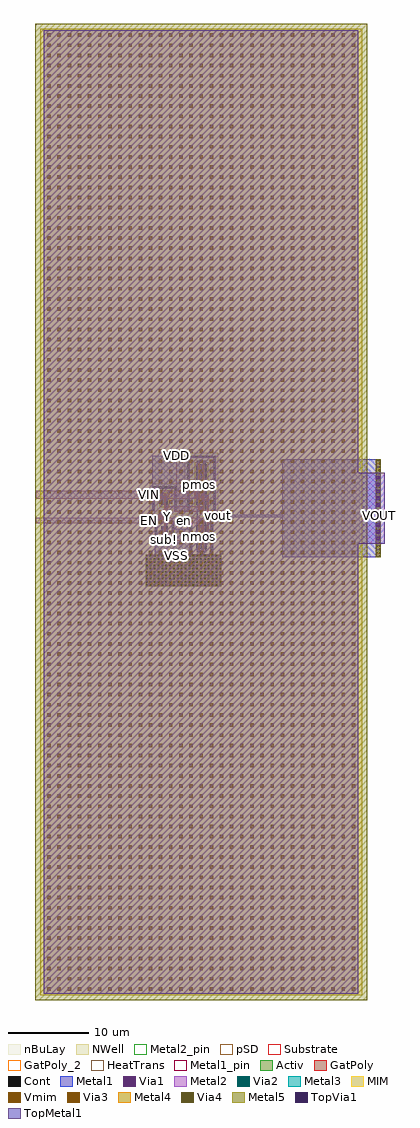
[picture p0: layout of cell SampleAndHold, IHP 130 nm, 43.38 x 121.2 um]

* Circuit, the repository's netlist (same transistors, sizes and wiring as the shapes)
** sch_path: /foss/designs/xschemas/aymen/SampleAndHold.sch
.subckt SampleAndHold vdd en Nbulk Vout Vin VSS
*.PININFO Vout:O Vin:I en:I vdd:I Nbulk:B VSS:B
x2 vdd en net1 VSS Pbulk Nbulk inverter
x1 net1 Vin Vout Nbulk en Pbulk T_gate
C1 Vout VSS cap_cmim w=40e-6 l=120e-6
R1 vdd Pbulk ntap1 A=7.635e-12 P=52.1e-6
R2 VSS Nbulk ptap1 A=5.499e-12 P=37.86e-6
.ends

* expanding   symbol:  /foss/designs/xschemas/aymen/inverter.sym # of pins=6
** sym_path: /foss/designs/xschemas/aymen/inverter.sym
** sch_path: /foss/designs/xschemas/aymen/inverter.sch
.subckt inverter vdd vi vo gnd Pbulk Nbulk
*.PININFO vi:B vo:B gnd:B vdd:B Pbulk:B Nbulk:B
M5 vo vi vdd Pbulk sg13_lv_pmos w=1200n l=130n ng=1
M7 vo vi gnd Nbulk sg13_lv_nmos w=780n l=130n ng=1
.ends


* expanding   symbol:  /foss/designs/xschemas/aymen/T_gate.sym # of pins=6
** sym_path: /foss/designs/xschemas/aymen/T_gate.sym
** sch_path: /foss/designs/xschemas/aymen/T_gate.sch
.subckt T_gate !Control Vin Vout gnd Control vdd
*.PININFO Vout:B Vin:B !Control:B Control:B gnd:B vdd:B
M1 Vin Control Vout gnd sg13_lv_nmos w=6u l=0.13u ng=1
M2 Vin !Control Vout vdd sg13_lv_pmos w=10u l=0.13u ng=1
.ends

.GLOBAL VSS

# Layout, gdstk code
import gdstk
lib = gdstk.Library(unit=1e-6, precision=1e-09)
def R(c, l, rs):  # rectangles x0, y0, x1, y1
    for r in rs: c.add(gdstk.rectangle(r[:2], r[2:], *l))
def A(c, l, x, y, w, h, nx, ny, dx, dy):  # array of equal rectangles
    R(c, l, [(x+i*dx, y+j*dy, x+i*dx+w, y+j*dy+h) for i in range(nx) for j in range(ny)])
def P(c, l, *ps):  # polygons
    for p in ps: c.add(gdstk.Polygon(p, *l))
Activ = (1, 0)
GatPoly = (5, 0)
GatPoly_2 = (5, 2)
Cont = (6, 0)
Metal1 = (8, 0)
Metal1_pin = (8, 2)
Metal2 = (10, 0)
Metal2_pin = (10, 2)
pSD = (14, 0)
Via1 = (19, 0)
Via2 = (29, 0)
Metal3 = (30, 0)
NWell = (31, 0)
nBuLay = (32, 0)
MIM = (36, 0)
Substrate = (40, 0)
Via3 = (49, 0)
Metal4 = (50, 0)
HeatTrans = (51, 0)
Via4 = (66, 0)
Metal5 = (67, 0)
TopVia1 = (125, 0)
TopMetal1 = (126, 0)
Vmim = (129, 0)

sampleandhold = lib.new_cell('SampleAndHold')
A(sampleandhold, Activ, -0.645, -4.57, 0.3, 0.3, 3, 2, 0.51, 5.47)
R(sampleandhold, Activ, [(-1.445,-5.25,-1.145,-0.89), (1.175,-5.25,1.475,-0.89), (-0.645,-4.57,0.675,-1.57), (-5.76,-3.23,-5.46,-1.09), (-3.65,-3.23,-3.35,-1.09), (-4.96,-2.55,-4.66,-2.25), (-4.96,-2.55,-4.15,-1.77), (-4.45,-2.55,-4.15,-2.25), (-6.07,0.09,-5.77,2.91), (-3.34,0.09,-3.04,2.91), (-1.755,0.09,-1.455,6.71), (1.485,0.09,1.785,6.71), (-4.96,0.9,-4.66,1.2), (-4.96,0.9,-4.15,2.1), (-4.45,0.9,-4.15,1.2), (-0.645,0.9,0.675,5.9)])
P(sampleandhold, Activ, [(-1.445,-5.55),(-1.445,-0.89),(-1.145,-0.89),(-1.145,-5.25),(1.175,-5.25),(1.175,-0.89),(1.475,-0.89),(1.475,-5.55)],
  [(-1.755,0.09),(-1.755,7.01),(1.785,7.01),(1.785,0.09),(1.485,0.09),(1.485,6.71),(-1.455,6.71),(-1.455,0.09)],
  [(-6.07,0.09),(-6.07,3.21),(-3.04,3.21),(-3.04,0.09),(-3.34,0.09),(-3.34,2.91),(-5.77,2.91),(-5.77,0.09)],
  [(-5.76,-3.53),(-5.76,-1.09),(-5.46,-1.09),(-5.46,-3.23),(-3.65,-3.23),(-3.65,-1.09),(-3.35,-1.09),(-3.35,-3.53)])
R(sampleandhold, GatPoly, [(-0.305,-4.75,-0.175,-1.39), (0.205,-4.75,0.335,-1.39), (-4.62,-2.73,-4.49,-1.59), (-4.62,-1.86,-4.49,0.84), (-0.305,-1.49,0.335,-0.935), (-0.14,-1.355,0.16,-0.715), (-5.245,-0.94,-4.605,-0.3), (-0.14,0.04,0.16,0.68), (-0.305,0.07,0.335,0.72), (-4.62,0.72,-4.49,2.28), (-4.62,0.72,-4.49,2.28), (-0.305,0.72,-0.175,6.08), (-0.305,0.72,-0.175,6.08), (0.205,0.72,0.335,6.08)])
R(sampleandhold, GatPoly_2, [(-0.305,-4.75,-0.175,-1.39), (-4.62,-2.73,-4.49,-1.59)])
A(sampleandhold, Cont, -1.375, -5.48, 0.16, 0.16, 4, 1, 0.34, 0)
A(sampleandhold, Cont, 0.225, -5.48, 0.16, 0.16, 4, 1, 0.34, 0)
A(sampleandhold, Cont, -1.375, -5.14, 0.16, 0.16, 1, 6, 0, 0.34)
A(sampleandhold, Cont, 1.245, -5.14, 0.16, 0.16, 1, 6, 0, 0.34)
A(sampleandhold, Cont, -0.575, -4.5, 0.16, 0.16, 3, 7, 0.51, 0.385)
A(sampleandhold, Cont, -5.69, -3.46, 0.16, 0.16, 3, 1, 0.34, 0)
A(sampleandhold, Cont, -4.6, -3.46, 0.16, 0.16, 4, 1, 0.34, 0)
A(sampleandhold, Cont, -5.69, -3.12, 0.16, 0.16, 1, 3, 0, 0.34)
A(sampleandhold, Cont, -3.58, -3.12, 0.16, 0.16, 1, 3, 0, 0.34)
A(sampleandhold, Cont, -1.375, -2.86, 0.16, 0.16, 1, 6, 0, 0.34)
A(sampleandhold, Cont, 1.245, -2.86, 0.16, 0.16, 1, 6, 0, 0.34)
A(sampleandhold, Cont, -5.69, -2.04, 0.16, 0.16, 1, 3, 0, 0.34)
A(sampleandhold, Cont, -3.58, -2.04, 0.16, 0.16, 1, 3, 0, 0.34)
A(sampleandhold, Cont, -0.575, -1.8, 0.16, 0.16, 3, 2, 0.51, 2.77)
A(sampleandhold, Cont, -6, 0.2, 0.16, 0.16, 1, 4, 0, 0.34)
A(sampleandhold, Cont, -3.27, 0.2, 0.16, 0.16, 1, 4, 0, 0.34)
A(sampleandhold, Cont, -1.685, 0.2, 0.16, 0.16, 1, 9, 0, 0.34)
A(sampleandhold, Cont, 1.555, 0.2, 0.16, 0.16, 1, 9, 0, 0.34)
A(sampleandhold, Cont, -4.89, 0.97, 0.16, 0.16, 1, 3, 0, 0.45)
A(sampleandhold, Cont, -4.38, 0.97, 0.16, 0.16, 1, 3, 0, 0.45)
A(sampleandhold, Cont, -0.575, 1.33, 0.16, 0.16, 3, 3, 0.51, 0.36)
A(sampleandhold, Cont, -6, 1.62, 0.16, 0.16, 1, 4, 0, 0.34)
A(sampleandhold, Cont, -3.27, 1.62, 0.16, 0.16, 1, 4, 0, 0.34)
A(sampleandhold, Cont, -0.575, 2.415, 0.16, 0.16, 3, 3, 0.51, 0.36)
A(sampleandhold, Cont, -6, 2.98, 0.16, 0.16, 4, 1, 0.34, 0)
A(sampleandhold, Cont, -4.63, 2.98, 0.16, 0.16, 5, 1, 0.34, 0)
A(sampleandhold, Cont, -1.685, 3.38, 0.16, 0.16, 1, 10, 0, 0.34)
A(sampleandhold, Cont, 1.555, 3.38, 0.16, 0.16, 1, 10, 0, 0.34)
A(sampleandhold, Cont, -0.575, 3.5, 0.16, 0.16, 3, 3, 0.51, 0.36)
A(sampleandhold, Cont, -0.575, 4.585, 0.16, 0.16, 3, 3, 0.51, 0.36)
A(sampleandhold, Cont, -0.575, 5.67, 0.16, 0.16, 3, 1, 0.51, 0)
A(sampleandhold, Cont, -1.685, 6.78, 0.16, 0.16, 5, 1, 0.34, 0)
A(sampleandhold, Cont, 0.195, 6.78, 0.16, 0.16, 5, 1, 0.34, 0)
R(sampleandhold, Cont, [(-4.89,-2.48,-4.73,-2.32), (-4.38,-2.48,-4.22,-2.32), (-4.89,-2,-4.73,-1.84), (-4.38,-2,-4.22,-1.84), (-0.07,-1.285,0.09,-1.125), (-0.07,-0.945,0.09,-0.785), (-5.175,-0.87,-5.015,-0.71), (-4.835,-0.87,-4.675,-0.71), (-5.175,-0.53,-5.015,-0.37), (-4.835,-0.53,-4.675,-0.37), (-0.07,0.11,0.09,0.27), (-0.07,0.45,0.09,0.61)])
A(sampleandhold, Metal1, -0.575, -4.57, 0.16, 3, 3, 1, 0.51, 0)
R(sampleandhold, Metal1, [(-6.895,-9.2,2.515,-5.3), (10.075,-5.62,22.27,6.56), (21.65,-5.62,22.27,6.56), (-1.445,-5.55,1.475,-5.25), (-5.76,-5.35,-1.245,-3.53), (-1.445,-5.25,-1.145,-0.89), (1.175,-5.25,1.475,-0.89), (-0.575,-5.015,0.605,-4.805), (-0.575,-5.015,-0.415,-4.42), (0.445,-5.015,0.605,-4.395), (-0.085,-3.765,0.125,-1.835), (-5.76,-3.53,-3.35,-3.23), (-3.35,-3.53,-1.245,-2.08), (-4.89,-3.37,-4.73,-2.29), (-5.76,-3.23,-5.46,-1.09), (-3.65,-3.23,-3.35,-1.09), (0.445,-2.87,0.605,1.505), (-4.89,-2.55,-4.73,-1.77), (-4.38,-2.55,-4.22,-1.77), (-4.38,-2.16,-4.22,1.015), (-0.575,-2.11,-0.415,1.195), (-0.095,-1.385,0.115,-0.685), (-5.335,-0.93,-4.635,-0.31), (-5.225,-0.87,-4.625,-0.37), (0.925,-0.64,1.135,0.06), (0.935,-0.64,2.135,-0.315), (1.605,-0.64,10.5,-0.315), (-4.355,0.01,-4.145,0.71), (-0.095,0.01,0.115,0.71), (-6.07,0.09,-5.77,2.91), (-3.34,0.09,-3.04,2.91), (-3.04,0.09,-1.755,7.01), (-1.755,0.09,-1.455,6.71), (1.485,0.09,1.785,6.71), (-4.89,0.9,-4.73,2.1), (-4.89,0.9,-4.73,2.1), (-4.38,0.9,-4.22,2.1), (-4.38,0.9,-4.22,2.1), (-0.575,0.9,-0.415,5.9), (-0.575,0.9,-0.415,5.9), (-0.065,0.9,0.095,5.9), (-0.065,0.9,0.095,5.9), (0.445,0.9,0.605,5.9), (-0.085,1.375,0.125,3.305), (-0.61,1.58,-0.4,3.51), (-4.89,1.78,-4.73,3.21), (-6.07,2.91,-3.04,7.01), (-6.07,2.91,-3.04,3.21), (0.445,5.725,0.605,6.345), (-0.575,5.75,-0.415,6.345), (-0.575,6.135,0.605,6.345), (-1.755,6.71,1.785,7.01)])
R(sampleandhold, Metal1_pin, [(10.075,-5.62,22.27,6.56), (-5.76,-5.35,-1.245,-3.53), (-0.575,-4.57,-0.415,-1.57), (-0.065,-4.57,0.095,-1.57), (-4.89,-2.55,-4.73,-1.77), (-4.38,-2.55,-4.22,-1.77), (-4.38,-2.16,-4.22,1.015), (-5.225,-0.87,-4.625,-0.37), (0.935,-0.64,2.135,-0.315), (-6.07,2.91,-3.04,7.01)])
R(sampleandhold, Metal2, [(-6.895,-9.195,2.515,-5.305), (21.655,-5.62,22.265,6.56), (-0.08,-3.765,0.12,-1.835), (-0.08,-3.715,0.965,-3.115), (0.745,-3.715,0.965,2.13), (-20.555,-1.385,-1.705,-0.685), (-2.105,-1.385,0.11,-0.685), (-0.09,-1.385,0.11,-0.685), (-5.335,-0.925,-4.635,-0.315), (0.93,-0.64,1.13,0.06), (-4.38,0.01,-1.86,0.71), (-4.35,0.01,-4.15,0.71), (-2.105,0.01,0.11,0.71), (-0.09,0.01,0.11,0.71), (-0.08,1.375,0.965,2.13), (-0.08,1.375,0.12,3.305), (-0.605,1.58,-0.405,3.51), (-20.555,1.615,-0.405,2.665)])
R(sampleandhold, Metal2_pin, [(-20.555,-1.385,-1.705,-0.685), (-2.105,-1.385,0.11,-0.685), (-2.105,0.01,0.11,0.71), (-20.555,1.615,-0.405,2.665)])
R(sampleandhold, pSD, [(-1.475,-5.22,-1.115,-0.86), (1.145,-5.22,1.505,-0.86), (-5.79,-3.2,-5.43,-1.06), (-3.68,-3.2,-3.32,-1.06), (-5.14,0.6,-3.97,2.4), (-0.825,0.6,0.855,6.2)])
P(sampleandhold, pSD, [(-1.475,-5.58),(-1.475,-0.86),(-1.115,-0.86),(-1.115,-5.22),(1.145,-5.22),(1.145,-0.86),(1.505,-0.86),(1.505,-5.58)],
  [(-5.79,-3.56),(-5.79,-1.06),(-5.43,-1.06),(-5.43,-3.2),(-3.68,-3.2),(-3.68,-1.06),(-3.32,-1.06),(-3.32,-3.56)])
A(sampleandhold, Via1, -6.845, -9.19, 0.19, 0.19, 20, 10, 0.48, 0.41)
A(sampleandhold, Via1, 21.66, -5.57, 0.19, 0.19, 1, 30, 0, 0.41)
A(sampleandhold, Via1, 22.07, -5.57, 0.19, 0.19, 1, 30, 0, 0.41)
A(sampleandhold, Via1, -0.075, -3.715, 0.19, 0.19, 1, 5, 0, 0.41)
A(sampleandhold, Via1, -0.075, 1.425, 0.19, 0.19, 1, 5, 0, 0.41)
A(sampleandhold, Via1, -0.6, 1.63, 0.19, 0.19, 1, 5, 0, 0.41)
R(sampleandhold, Via1, [(-0.085,-1.335,0.105,-1.145), (-0.085,-0.925,0.105,-0.735), (-5.285,-0.92,-5.095,-0.73), (-4.875,-0.92,-4.685,-0.73), (0.935,-0.59,1.125,-0.4), (-5.285,-0.51,-5.095,-0.32), (-4.875,-0.51,-4.685,-0.32), (0.935,-0.18,1.125,0.01), (-4.345,0.06,-4.155,0.25), (-0.085,0.06,0.105,0.25), (-4.345,0.47,-4.155,0.66), (-0.085,0.47,0.105,0.66)])
A(sampleandhold, Via2, -6.845, -9.19, 0.19, 0.19, 20, 10, 0.48, 0.41)
A(sampleandhold, Via2, 21.66, -5.57, 0.19, 0.19, 1, 30, 0, 0.41)
A(sampleandhold, Via2, 22.07, -5.57, 0.19, 0.19, 1, 30, 0, 0.41)
R(sampleandhold, Metal3, [(-6.895,-9.195,2.515,-5.305), (21.655,-5.62,22.265,6.56)])
R(sampleandhold, NWell, [(-6.42,-0.56,-2.69,3.56), (-2.69,-0.56,-2.105,-0.26), (-2.105,-0.56,2.135,7.36), (-2.69,-0.26,-2.105,3.56), (-5.27,0.59,-3.84,2.41), (-0.955,0.59,0.985,6.21)])
R(sampleandhold, nBuLay, [(-6.42,-0.26,-5.42,2.56), (-3.69,-0.26,-2.69,2.56), (-2.69,-0.26,-2.105,3.56), (-2.105,-0.26,-1.105,6.36), (1.135,-0.26,2.135,6.36)])
P(sampleandhold, nBuLay, [(-2.105,-0.26),(-2.105,7.36),(2.135,7.36),(2.135,-0.26),(1.135,-0.26),(1.135,6.36),(-1.105,6.36),(-1.105,-0.26)],
  [(-6.42,-0.26),(-6.42,3.56),(-2.69,3.56),(-2.69,-0.26),(-3.69,-0.26),(-3.69,2.56),(-5.42,2.56),(-5.42,-0.26)])
R(sampleandhold, MIM, [(-20,-60,20,60)])
R(sampleandhold, Substrate, [(-1.475,-5.22,-1.115,-0.86), (1.145,-5.22,1.505,-0.86), (-5.79,-3.2,-5.43,-1.06), (-3.68,-3.2,-3.32,-1.06), (-4.45,0.9,-4.15,1.2), (0.375,0.9,0.675,1.2)])
P(sampleandhold, Substrate, [(-1.475,-5.58),(-1.475,-0.86),(-1.115,-0.86),(-1.115,-5.22),(1.145,-5.22),(1.145,-0.86),(1.505,-0.86),(1.505,-5.58)],
  [(-5.79,-3.56),(-5.79,-1.06),(-5.43,-1.06),(-5.43,-3.2),(-3.68,-3.2),(-3.68,-1.06),(-3.32,-1.06),(-3.32,-3.56)])
A(sampleandhold, Via3, -6.845, -9.19, 0.19, 0.19, 20, 10, 0.48, 0.41)
A(sampleandhold, Via3, 21.66, -5.57, 0.19, 0.19, 1, 30, 0, 0.41)
A(sampleandhold, Via3, 22.07, -5.57, 0.19, 0.19, 1, 30, 0, 0.41)
R(sampleandhold, Metal4, [(-6.895,-9.195,2.515,-5.305), (21.655,-5.62,22.265,6.56)])
R(sampleandhold, HeatTrans, [(-0.305,-4.75,-0.175,-1.39), (0.205,-4.75,0.335,-1.39), (-4.62,-2.73,-4.49,-1.59), (-4.62,0.72,-4.49,2.28), (-0.305,0.72,-0.175,6.08), (0.205,0.72,0.335,6.08)])
A(sampleandhold, Via4, -6.845, -9.19, 0.19, 0.19, 20, 10, 0.48, 0.41)
A(sampleandhold, Via4, 21.66, -5.57, 0.19, 0.19, 1, 30, 0, 0.41)
A(sampleandhold, Via4, 22.07, -5.57, 0.19, 0.19, 1, 30, 0, 0.41)
R(sampleandhold, Metal5, [(-20.6,-60.6,20.6,60.6), (-6.895,-9.195,2.515,-5.305), (21.65,-5.62,22.27,6.56)])
A(sampleandhold, TopVia1, 21.75, -3.52, 0.42, 0.42, 1, 10, 0, 0.84)
R(sampleandhold, TopMetal1, [(-19.53,-59.85,19.53,59.85), (19.53,-3.94,22.78,4.88), (21.14,-3.94,22.78,4.88)])
A(sampleandhold, Vmim, -19.11, -59.43, 0.42, 0.42, 31, 95, 1.26, 1.26)
sampleandhold.add(gdstk.Label('vout', (2.135,-0.477), layer=8, texttype=2))
sampleandhold.add(gdstk.Label('Y', (-4.22,-0.572), layer=8, texttype=2))
sampleandhold.add(gdstk.Label('X', (-5.245,-0.62), layer=8, texttype=2))
sampleandhold.add(gdstk.Label('VOUT', (22.095,-0.478), layer=8, texttype=2))
sampleandhold.add(gdstk.Label('VDD', (-3.04,7.01), layer=8, texttype=2))
sampleandhold.add(gdstk.Label('VSS', (-3.105,-5.35), layer=8, texttype=2))
sampleandhold.add(gdstk.Label('en', (-2.105,-1.035), layer=10, texttype=2))
sampleandhold.add(gdstk.Label('en_n', (-2.105,0.36), layer=10, texttype=2))
sampleandhold.add(gdstk.Label('EN', (-6.42,-1.035), layer=10, texttype=2))
sampleandhold.add(gdstk.Label('VIN', (-6.42,2.14), layer=10, texttype=2))
sampleandhold.add(gdstk.Label('nmos', (-0.24,-3.07), layer=63, texttype=0))
sampleandhold.add(gdstk.Label('sub!', (0.015,-5.4), layer=63, texttype=0))
sampleandhold.add(gdstk.Label('pmos', (-0.24,3.4), layer=63, texttype=0))
sampleandhold.add(gdstk.Label('well', (0.015,6.86), layer=63, texttype=0))
sampleandhold.add(gdstk.Label('pmos', (-4.555,1.5), layer=63, texttype=0))
sampleandhold.add(gdstk.Label('well', (-4.555,3.06), layer=63, texttype=0))
sampleandhold.add(gdstk.Label('nmos', (-4.555,-2.16), layer=63, texttype=0))
sampleandhold.add(gdstk.Label('sub!', (-4.555,-3.38), layer=63, texttype=0))
sampleandhold.add(gdstk.Label('nmos', (-0.24,-3.07), layer=51, texttype=0))
sampleandhold.add(gdstk.Label('nmos', (0.27,-3.07), layer=51, texttype=0))
sampleandhold.add(gdstk.Label('pmos', (-0.24,3.4), layer=51, texttype=0))
sampleandhold.add(gdstk.Label('pmos', (0.27,3.4), layer=51, texttype=0))
sampleandhold.add(gdstk.Label('pmos', (-4.555,1.5), layer=51, texttype=0))
sampleandhold.add(gdstk.Label('nmos', (-4.555,-2.16), layer=51, texttype=0))

lib.write_gds('SampleAndHold.gds')
